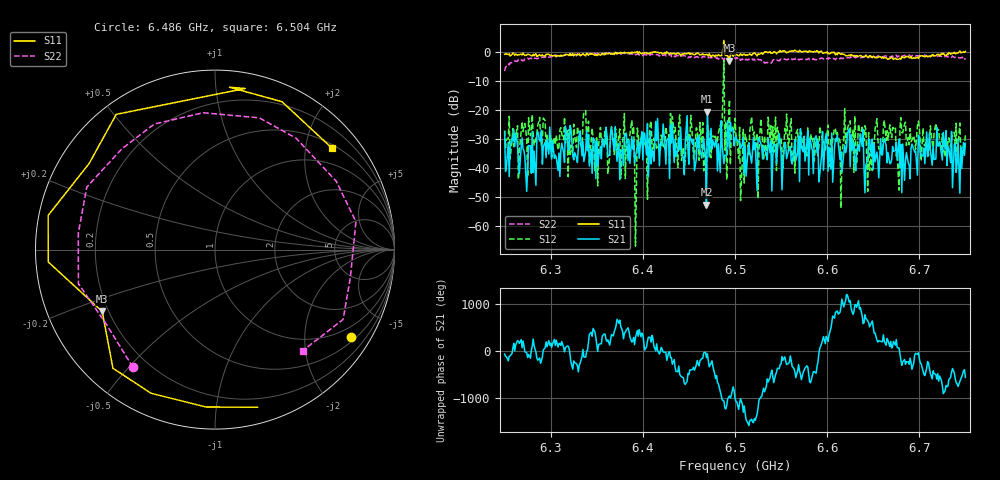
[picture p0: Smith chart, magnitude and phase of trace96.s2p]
# Hz S RI R 50
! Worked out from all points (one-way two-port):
!   401 points, 6.25 GHz to 6.75 GHz, reference 50 ohm
!   highest |S21| = -20.46 dB at 6.47 GHz (marker M1); lowest = -52.6 dB at 6.469 GHz (marker M2)
!   lowest |S11| = -2.9 dB at 6.494 GHz (marker M3), VSWR 6.06, Z = 8.78 - j12.4 ohm
!   |S11| at or under -10 dB: nowhere
!   |S22| runs from -6.5 to -0.2 dB; largest |S21 - S12| = 0.72
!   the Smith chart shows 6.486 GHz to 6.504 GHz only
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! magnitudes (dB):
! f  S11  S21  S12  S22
! 6.25 GHz  -0.7  -27.6  -27.0  -6.5
! 6.334 GHz  -0.8  -35.7  -33.9  -0.8
! 6.388 GHz  0.1  -29.1  -23.5  -0.5
! 6.394 GHz  0.2  -32.3  -26.1  -0.7
! 6.396 GHz  0.1  -36.6  -33.3  -0.9
! 6.418 GHz  -0.3  -39.1  -31.8  -1.3
! 6.432 GHz  -0.5  -24.6  -22.1  -1.1
! 6.444 GHz  -0.6  -36.7  -32.7  -1.1
! 6.45 GHz  -0.2  -38.6  -27.7  -1.5
! 6.469 GHz  -0.7  -52.6  -43.4  -1.5
! 6.47 GHz  -0.8  -20.5  -25.3  -1.6
! 6.485 GHz  -1.2  -23.6  -29.5  -2.2
! 6.494 GHz  -2.9  -33.3  -16.4  -2.2
! 6.5 GHz  -0.8  -30.1  -22.8  -1.9
! 6.509 GHz  -0.7  -29.3  -26.6  -2.9
! 6.519 GHz  -0.6  -34.2  -26.3  -2.3
! 6.524 GHz  -1.3  -47.7  -28.0  -2.8
! 6.584 GHz  0.2  -34.0  -31.0  -2.5
! 6.64 GHz  -1.4  -40.0  -30.6  -1.7
! 6.646 GHz  -1.2  -30.2  -40.8  -1.5
! 6.668 GHz  -2.2  -38.5  -25.0  -1.7
! 6.75 GHz  0.3  -31.4  -28.6  -2.0
